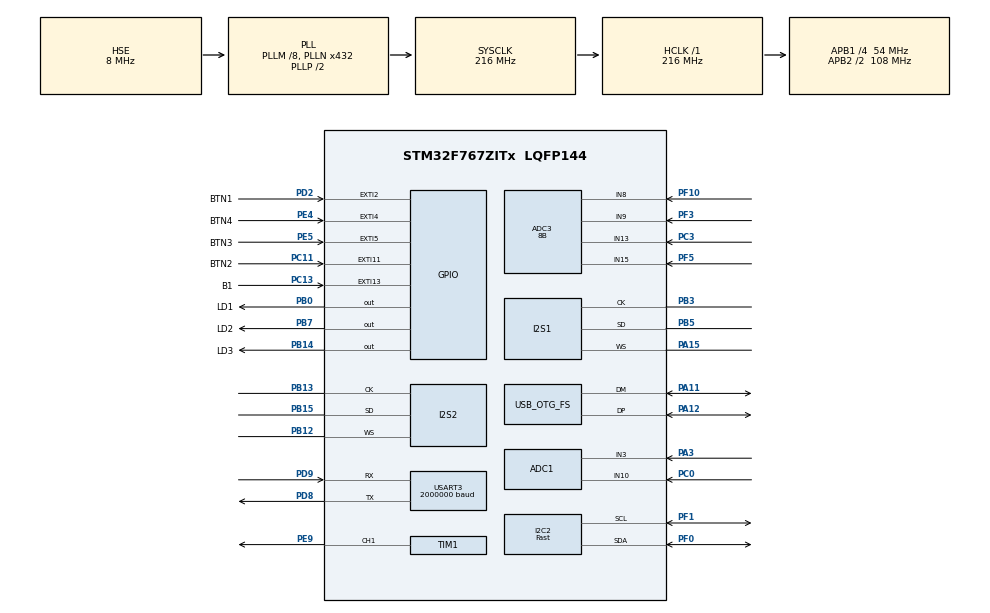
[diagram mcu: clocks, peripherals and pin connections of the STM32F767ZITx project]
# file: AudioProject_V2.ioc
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ADC1.Channel-2\#ChannelRegularConversion=ADC_CHANNEL_3
ADC1.Channel-3\#ChannelRegularConversion=ADC_CHANNEL_10
ADC1.ClockPrescaler=ADC_CLOCK_SYNC_PCLK_DIV6
ADC1.DMAContinuousRequests=ENABLE
ADC1.EOCSelection=ADC_EOC_SEQ_CONV
ADC1.ExternalTrigConv=ADC_EXTERNALTRIGCONV_T2_TRGO
ADC1.NbrOfConversion=2
ADC1.NbrOfConversionFlag=1
ADC1.Rank-2\#ChannelRegularConversion=1
ADC1.Rank-3\#ChannelRegularConversion=2
ADC1.SamplingTime-2\#ChannelRegularConversion=ADC_SAMPLETIME_144CYCLES
ADC1.SamplingTime-3\#ChannelRegularConversion=ADC_SAMPLETIME_144CYCLES
ADC1.master=1
ADC3.Channel-0\#ChannelRegularConversion=ADC_CHANNEL_8
ADC3.Channel-1\#ChannelRegularConversion=ADC_CHANNEL_15
ADC3.Channel-2\#ChannelRegularConversion=ADC_CHANNEL_9
ADC3.Channel-3\#ChannelRegularConversion=ADC_CHANNEL_13
ADC3.ClockPrescaler=ADC_CLOCK_SYNC_PCLK_DIV6
ADC3.DMAContinuousRequests=ENABLE
ADC3.EOCSelection=ADC_EOC_SEQ_CONV
ADC3.ExternalTrigConv=ADC_EXTERNALTRIGCONV_T6_TRGO
ADC3.NbrOfConversion=4
ADC3.NbrOfConversionFlag=1
ADC3.Rank-0\#ChannelRegularConversion=1
ADC3.Rank-1\#ChannelRegularConversion=2
ADC3.Rank-2\#ChannelRegularConversion=3
ADC3.Rank-3\#ChannelRegularConversion=4
ADC3.Resolution=ADC_RESOLUTION_8B
ADC3.SamplingTime-0\#ChannelRegularConversion=ADC_SAMPLETIME_480CYCLES
ADC3.SamplingTime-1\#ChannelRegularConversion=ADC_SAMPLETIME_480CYCLES
ADC3.SamplingTime-2\#ChannelRegularConversion=ADC_SAMPLETIME_480CYCLES
ADC3.SamplingTime-3\#ChannelRegularConversion=ADC_SAMPLETIME_480CYCLES
ADC3.ScanConvMode=ADC_SCAN_ENABLE
CORTEX_M7.default_mode_Activation=1
Dma.ADC1.0.Direction=DMA_PERIPH_TO_MEMORY
Dma.ADC1.0.FIFOMode=DMA_FIFOMODE_DISABLE
Dma.ADC1.0.Instance=DMA2_Stream4
Dma.ADC1.0.MemDataAlignment=DMA_MDATAALIGN_HALFWORD
Dma.ADC1.0.MemInc=DMA_MINC_ENABLE
Dma.ADC1.0.Mode=DMA_CIRCULAR
Dma.ADC1.0.PeriphDataAlignment=DMA_PDATAALIGN_HALFWORD
Dma.ADC1.0.PeriphInc=DMA_PINC_DISABLE
Dma.ADC1.0.Priority=DMA_PRIORITY_HIGH
Dma.ADC3.2.Direction=DMA_PERIPH_TO_MEMORY
Dma.ADC3.2.FIFOMode=DMA_FIFOMODE_DISABLE
Dma.ADC3.2.Instance=DMA2_Stream0
Dma.ADC3.2.MemDataAlignment=DMA_MDATAALIGN_HALFWORD
Dma.ADC3.2.MemInc=DMA_MINC_ENABLE
Dma.ADC3.2.Mode=DMA_CIRCULAR
Dma.ADC3.2.PeriphDataAlignment=DMA_PDATAALIGN_HALFWORD
Dma.ADC3.2.PeriphInc=DMA_PINC_DISABLE
Dma.ADC3.2.Priority=DMA_PRIORITY_LOW
Dma.I2C2_TX.4.Direction=DMA_MEMORY_TO_PERIPH
Dma.I2C2_TX.4.FIFOMode=DMA_FIFOMODE_DISABLE
Dma.I2C2_TX.4.Instance=DMA1_Stream7
Dma.I2C2_TX.4.MemDataAlignment=DMA_MDATAALIGN_BYTE
Dma.I2C2_TX.4.MemInc=DMA_MINC_ENABLE
Dma.I2C2_TX.4.Mode=DMA_NORMAL
Dma.I2C2_TX.4.PeriphDataAlignment=DMA_PDATAALIGN_BYTE
Dma.I2C2_TX.4.PeriphInc=DMA_PINC_DISABLE
Dma.I2C2_TX.4.Priority=DMA_PRIORITY_LOW
Dma.Request0=ADC1
Dma.Request1=TIM1_CH1
Dma.Request2=ADC3
Dma.Request3=SPI2_TX
Dma.Request4=I2C2_TX
Dma.Request5=SPI1_RX
Dma.SPI1_RX.5.Direction=DMA_PERIPH_TO_MEMORY
Dma.SPI1_RX.5.FIFOMode=DMA_FIFOMODE_DISABLE
Dma.SPI1_RX.5.Instance=DMA2_Stream2
Dma.SPI1_RX.5.MemDataAlignment=DMA_MDATAALIGN_HALFWORD
Dma.SPI1_RX.5.MemInc=DMA_MINC_ENABLE
Dma.SPI1_RX.5.Mode=DMA_CIRCULAR
Dma.SPI1_RX.5.PeriphDataAlignment=DMA_PDATAALIGN_HALFWORD
Dma.SPI1_RX.5.PeriphInc=DMA_PINC_DISABLE
Dma.SPI1_RX.5.Priority=DMA_PRIORITY_VERY_HIGH
Dma.SPI2_TX.3.Direction=DMA_MEMORY_TO_PERIPH
Dma.SPI2_TX.3.FIFOMode=DMA_FIFOMODE_DISABLE
Dma.SPI2_TX.3.Instance=DMA1_Stream4
Dma.SPI2_TX.3.MemDataAlignment=DMA_MDATAALIGN_HALFWORD
Dma.SPI2_TX.3.MemInc=DMA_MINC_ENABLE
Dma.SPI2_TX.3.Mode=DMA_CIRCULAR
Dma.SPI2_TX.3.PeriphDataAlignment=DMA_PDATAALIGN_HALFWORD
Dma.SPI2_TX.3.PeriphInc=DMA_PINC_DISABLE
Dma.SPI2_TX.3.Priority=DMA_PRIORITY_VERY_HIGH
Dma.TIM1_CH1.1.Direction=DMA_MEMORY_TO_PERIPH
Dma.TIM1_CH1.1.FIFOMode=DMA_FIFOMODE_DISABLE
Dma.TIM1_CH1.1.Instance=DMA2_Stream1
Dma.TIM1_CH1.1.MemDataAlignment=DMA_MDATAALIGN_HALFWORD
Dma.TIM1_CH1.1.MemInc=DMA_MINC_ENABLE
Dma.TIM1_CH1.1.Mode=DMA_NORMAL
Dma.TIM1_CH1.1.PeriphDataAlignment=DMA_PDATAALIGN_HALFWORD
Dma.TIM1_CH1.1.PeriphInc=DMA_PINC_DISABLE
Dma.TIM1_CH1.1.Priority=DMA_PRIORITY_MEDIUM
I2C2.I2C_Speed_Mode=I2C_Fast
I2C2.Timing=0x0010061A
I2S1.AudioFreq=I2S_AUDIOFREQ_48K
I2S1.CPOL=I2S_CPOL_LOW
I2S1.DataFormat=I2S_DATAFORMAT_16B_EXTENDED
I2S1.ErrorAudioFreq=0.0 %
I2S1.FullDuplexMode=I2S_FULLDUPLEXMODE_DISABLE
I2S1.Instance=SPI$Index
I2S1.Mode=I2S_MODE_MASTER_RX
I2S1.RealAudioFreq=48.0 KHz
I2S1.VirtualMode=I2S_MODE_MASTER
I2S2.AudioFreq=I2S_AUDIOFREQ_48K
I2S2.ErrorAudioFreq=0.0 %
I2S2.FullDuplexMode=I2S_FULLDUPLEXMODE_DISABLE
I2S2.Instance=SPI$Index
I2S2.RealAudioFreq=48.0 KHz
I2S2.VirtualMode=I2S_MODE_MASTER
Mcu.Family=STM32F7
Mcu.Name=STM32F767ZITx
Mcu.Package=LQFP144
NVIC.DMA1_Stream4_IRQn=true\:1\:0\:true\:false\:true\:false\:true\:true
NVIC.DMA1_Stream7_IRQn=true\:11\:0\:true\:false\:true\:false\:true\:true
NVIC.DMA2_Stream0_IRQn=true\:8\:0\:true\:false\:true\:false\:true\:true
NVIC.DMA2_Stream1_IRQn=true\:5\:0\:true\:false\:true\:false\:true\:true
NVIC.DMA2_Stream2_IRQn=true\:2\:0\:true\:false\:true\:false\:true\:true
NVIC.DMA2_Stream4_IRQn=true\:2\:0\:true\:false\:true\:false\:true\:true
NVIC.EXTI15_10_IRQn=true\:10\:0\:true\:false\:true\:true\:true\:true
NVIC.EXTI2_IRQn=true\:10\:0\:true\:false\:true\:true\:true\:true
NVIC.EXTI4_IRQn=true\:10\:0\:true\:false\:true\:true\:true\:true
NVIC.EXTI9_5_IRQn=true\:10\:0\:true\:false\:true\:true\:true\:true
NVIC.I2C2_ER_IRQn=true\:11\:0\:true\:false\:true\:true\:true\:true
NVIC.I2C2_EV_IRQn=true\:11\:0\:true\:false\:true\:true\:true\:true
NVIC.OTG_FS_IRQn=true\:2\:0\:true\:false\:true\:false\:true\:true
NVIC.PriorityGroup=NVIC_PRIORITYGROUP_4
NVIC.TIM7_IRQn=true\:12\:0\:true\:false\:true\:true\:true\:true
PA11.Mode=Device_Only
PA11.Signal=USB_OTG_FS_DM
PA12.Mode=Device_Only
PA12.Signal=USB_OTG_FS_DP
PA15.GPIO_Speed=GPIO_SPEED_FREQ_LOW
PA15.Mode=Half_Duplex_Master
PA15.Signal=I2S1_WS
PA3.Signal=ADCx_IN3
PB0.GPIO_Label=LD1
PB0.Signal=GPIO_Output
PB12.Mode=Half_Duplex_Master
PB12.Signal=I2S2_WS
PB13.Mode=Half_Duplex_Master
PB13.Signal=I2S2_CK
PB14.GPIO_Label=LD3
PB14.Signal=GPIO_Output
PB15.Mode=Half_Duplex_Master
PB15.Signal=I2S2_SD
PB3.GPIO_Speed=GPIO_SPEED_FREQ_LOW
PB3.Mode=Half_Duplex_Master
PB3.Signal=I2S1_CK
PB5.GPIO_Speed=GPIO_SPEED_FREQ_LOW
PB5.Mode=Half_Duplex_Master
PB5.Signal=I2S1_SD
PB7.GPIO_Label=LD2
PB7.Signal=GPIO_Output
PC0.Signal=ADCx_IN10
PC11.GPIO_Label=BTN2
PC11.GPIO_PuPd=GPIO_NOPULL
PC11.Signal=GPXTI11
PC13.GPIO_Label=B1
PC13.GPIO_PuPd=GPIO_NOPULL
PC13.Signal=GPXTI13
PC14/OSC32_IN.Mode=LSE-External-Oscillator
PC14/OSC32_IN.Signal=RCC_OSC32_IN
PC15/OSC32_OUT.Mode=LSE-External-Oscillator
PC15/OSC32_OUT.Signal=RCC_OSC32_OUT
PC3.Signal=ADCx_IN13
PD2.GPIO_Label=BTN1
PD2.GPIO_PuPd=GPIO_NOPULL
PD2.Signal=GPXTI2
PD8.Mode=Asynchronous
PD8.Signal=USART3_TX
PD9.Mode=Asynchronous
PD9.Signal=USART3_RX
PE4.GPIO_Label=BTN4
PE4.GPIO_PuPd=GPIO_NOPULL
PE4.Signal=GPXTI4
PE5.GPIO_Label=BTN3
PE5.GPIO_PuPd=GPIO_NOPULL
PE5.Signal=GPXTI5
PE9.Signal=S_TIM1_CH1
PF0.GPIO_Speed=GPIO_SPEED_FREQ_LOW
PF0.Mode=I2C
PF0.Signal=I2C2_SDA
PF1.GPIO_Speed=GPIO_SPEED_FREQ_LOW
PF1.Mode=I2C
PF1.Signal=I2C2_SCL
PF10.Mode=IN8
PF10.Signal=ADC3_IN8
PF3.Mode=IN9
PF3.Signal=ADC3_IN9
PF5.Mode=IN15
PF5.Signal=ADC3_IN15
PH0/OSC_IN.Mode=HSE-External-Clock-Source
PH0/OSC_IN.Signal=RCC_OSC_IN
PH1/OSC_OUT.Mode=HSE-External-Clock-Source
PH1/OSC_OUT.Signal=RCC_OSC_OUT
ProjectManager.HeapSize=0x200
ProjectManager.StackSize=0x400
ProjectManager.TargetToolchain=STM32CubeIDE
RCC.AHBFreq_Value=216000000
RCC.APB1CLKDivider=RCC_HCLK_DIV4
RCC.APB1Freq_Value=54000000
RCC.APB1TimFreq_Value=108000000
RCC.APB2CLKDivider=RCC_HCLK_DIV2
RCC.APB2Freq_Value=108000000
RCC.APB2TimFreq_Value=216000000
RCC.CortexFreq_Value=216000000
RCC.HCLKFreq_Value=216000000
RCC.HSE_VALUE=8000000
RCC.HSI_VALUE=16000000
RCC.I2C2CLockSelection=RCC_I2C2CLKSOURCE_HSI
RCC.PLLI2SN=384
RCC.PLLI2SR=5
RCC.PLLM=8
RCC.PLLN=432
RCC.PLLQ=9
RCC.RTCClockSelection=RCC_RTCCLKSOURCE_LSE
RCC.SYSCLKFreq_VALUE=216000000
RCC.SYSCLKSource=RCC_SYSCLKSOURCE_PLLCLK
RCC.USART3CLockSelection=RCC_USART3CLKSOURCE_SYSCLK
RCC.USBFreq_Value=48000000
RCC.VCOOutputFreq_Value=432000000
SH.ADCx_IN10.0=ADC1_IN10,IN10
SH.ADCx_IN13.0=ADC3_IN13,IN13
SH.ADCx_IN3.0=ADC1_IN3,IN3
SH.S_TIM1_CH1.0=TIM1_CH1,PWM Generation1 CH1
TIM1.Channel-PWM\ Generation1\ CH1=TIM_CHANNEL_1
TIM1.Period=269
TIM2.Period=2249
TIM2.TIM_MasterOutputTrigger=TIM_TRGO_UPDATE
TIM6.Period=999
TIM6.Prescaler=10799
TIM6.TIM_MasterOutputTrigger=TIM_TRGO_UPDATE
TIM7.Period=9
TIM7.Prescaler=10799
USART3.BaudRate=2000000
USART3.DMADisableonRxErrorParam=ADVFEATURE_DMA_DISABLEONRXERROR
USART3.Mode=MODE_TX
USART3.OverrunDisableParam=ADVFEATURE_OVERRUN_DISABLE
USART3.VirtualMode-Asynchronous=VM_ASYNC
USB_DEVICE.CLASS_NAME_FS=AUDIO
USB_DEVICE.USBD_AUDIO_FREQ-AUDIO_FS=48000
USB_DEVICE.USBD_LPM_ENABLED-AUDIO_FS=0
USB_DEVICE.USBD_SELF_POWERED-AUDIO_FS=0
USB_DEVICE.VirtualMode-AUDIO_FS=Audio
USB_DEVICE.VirtualModeFS=Audio_FS
USB_OTG_FS.VirtualMode=Device_Only
VP_RTC_VS_RTC_Activate.Mode=RTC_Enabled
VP_RTC_VS_RTC_Calendar.Mode=RTC_Calendar
VP_TIM1_VS_ClockSourceINT.Mode=Internal
VP_TIM2_VS_ClockSourceINT.Mode=Internal
VP_TIM6_VS_ClockSourceINT.Mode=Enable_Timer
VP_TIM7_VS_ClockSourceINT.Mode=Enable_Timer
VP_USB_DEVICE_VS_USB_DEVICE_AUDIO_FS.Mode=AUDIO_FS
board=custom

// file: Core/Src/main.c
/* USER CODE BEGIN Header */
/**
  ******************************************************************************
  * @file           : main.c
  * @brief          : Main program body
  ******************************************************************************
  * @attention
  *
  * Copyright (c) 2026 STMicroelectronics.
  * All rights reserved.
  *
  * This software is licensed under terms that can be found in the LICENSE file
  * in the root directory of this software component.
  * If no LICENSE file comes with this software, it is provided AS-IS.
  *
  ******************************************************************************
  */
/* USER CODE END Header */
#include "main.h"
#include "usb_device.h"

/* USER CODE BEGIN Includes */
#include "app_main.h"
#include "ssd1306.h"
/* USER CODE END Includes */

ADC_HandleTypeDef hadc1;
ADC_HandleTypeDef hadc3;
DMA_HandleTypeDef hdma_adc1;
DMA_HandleTypeDef hdma_adc3;

I2C_HandleTypeDef hi2c2;
DMA_HandleTypeDef hdma_i2c2_tx;

I2S_HandleTypeDef hi2s1;
I2S_HandleTypeDef hi2s2;
DMA_HandleTypeDef hdma_spi1_rx;
DMA_HandleTypeDef hdma_spi2_tx;

RTC_HandleTypeDef hrtc;

TIM_HandleTypeDef htim1;
TIM_HandleTypeDef htim2;
TIM_HandleTypeDef htim6;
TIM_HandleTypeDef htim7;
DMA_HandleTypeDef hdma_tim1_ch1;

UART_HandleTypeDef huart3;

void SystemClock_Config(void);
void PeriphCommonClock_Config(void);
static void MPU_Config(void);
static void MX_GPIO_Init(void);
static void MX_DMA_Init(void);
static void MX_ADC1_Init(void);
static void MX_TIM2_Init(void);
static void MX_TIM1_Init(void);
static void MX_ADC3_Init(void);
static void MX_I2S2_Init(void);
static void MX_TIM6_Init(void);
static void MX_I2S1_Init(void);
static void MX_I2C2_Init(void);
static void MX_USART3_UART_Init(void);
static void MX_TIM7_Init(void);
static void MX_RTC_Init(void);
/* USER CODE BEGIN PFP */
static void BootClock_Config(void);
void UART3_Print(const char *msg);
static void Log_WaitBoot(void);
static void Log_CpltBoot(void);
/* USER CODE END PFP */

/* USER CODE BEGIN 0 */
static void BootClock_Config(void)
{
	RCC_OscInitTypeDef RCC_OscInitStruct = {0};
	RCC_ClkInitTypeDef RCC_ClkInitStruct = {0};
	RCC_PeriphCLKInitTypeDef PeriphClkInitStruct = {0};

	__HAL_RCC_PWR_CLK_ENABLE();
	__HAL_PWR_VOLTAGESCALING_CONFIG(PWR_REGULATOR_VOLTAGE_SCALE3);

	RCC_OscInitStruct.OscillatorType = RCC_OSCILLATORTYPE_HSI;
	RCC_OscInitStruct.HSIState = RCC_HSI_ON;
	RCC_OscInitStruct.HSICalibrationValue = RCC_HSICALIBRATION_DEFAULT;
	RCC_OscInitStruct.PLL.PLLState = RCC_PLL_NONE;
	if (HAL_RCC_OscConfig(&RCC_OscInitStruct) != HAL_OK)
	{
		Error_Handler();
	}

	RCC_ClkInitStruct.ClockType =
			RCC_CLOCKTYPE_SYSCLK	|
			RCC_CLOCKTYPE_HCLK		|
			RCC_CLOCKTYPE_PCLK1		|
			RCC_CLOCKTYPE_PCLK2;
	RCC_ClkInitStruct.SYSCLKSource = RCC_SYSCLKSOURCE_HSI;
	RCC_ClkInitStruct.AHBCLKDivider = RCC_SYSCLK_DIV1;
	RCC_ClkInitStruct.APB1CLKDivider = RCC_HCLK_DIV1;
	RCC_ClkInitStruct.APB2CLKDivider = RCC_HCLK_DIV1;
	if (HAL_RCC_ClockConfig(&RCC_ClkInitStruct, FLASH_LATENCY_0) != HAL_OK)
	{
		Error_Handler();
	}

	PeriphClkInitStruct.PeriphClockSelection =
			RCC_PERIPHCLK_USART3	|
			RCC_PERIPHCLK_I2C2;
	PeriphClkInitStruct.Usart3ClockSelection = RCC_USART3CLKSOURCE_HSI;
	PeriphClkInitStruct.I2c2ClockSelection = RCC_I2C2CLKSOURCE_HSI;
	if (HAL_RCCEx_PeriphCLKConfig(&PeriphClkInitStruct) != HAL_OK)
	{
		Error_Handler();
	}
}

void UART3_Print(const char *msg)
{
	HAL_UART_Transmit(&huart3, (uint8_t *)msg, strlen(msg), HAL_MAX_DELAY);
}

static void Log_WaitBoot(void)
{
	ssd1306_Init(&hi2c2);

	ssd1306_SetCursor(0, 16);
	ssd1306_WriteString("BOOT", Font_16x26, White);
	ssd1306_UpdateScreen(&hi2c2);

	HAL_Delay(1000);

	for (int i = 0; i < 3; i++)
	{
		ssd1306_WriteString(".", Font_16x26, White);
		ssd1306_UpdateScreen(&hi2c2);
		HAL_Delay(1000);
	}
}

static void Log_CpltBoot(void)
{
	ssd1306_Init(&hi2c2);

	ssd1306_SetCursor(0, 16);
	ssd1306_WriteString("COMPLETE", Font_11x18, White);
	ssd1306_UpdateScreen(&hi2c2);

	HAL_Delay(2000);
}

void TIM1_Start(void)
{
	HAL_TIM_Base_Start(&htim1);
}
/* USER CODE END 0 */

int main(void)
{

  /* MPU Configuration--------------------------------------------------------*/
  MPU_Config();

  /* MCU Configuration--------------------------------------------------------*/

  /* Reset of all peripherals, Initializes the Flash interface and the Systick. */
  HAL_Init();

  /* USER CODE BEGIN Init */
  BootClock_Config();
  MX_DMA_Init();
  MX_I2C2_Init();
  Log_WaitBoot();
  /* USER CODE END Init */

  /* Configure the system clock */
  SystemClock_Config();

  /* Configure the peripherals common clocks */
  PeriphCommonClock_Config();

  /* Initialize all configured peripherals */
  MX_GPIO_Init();
  MX_DMA_Init();
  MX_ADC1_Init();
  MX_USB_DEVICE_Init();
  MX_TIM2_Init();
  MX_TIM1_Init();
  MX_ADC3_Init();
  MX_I2S2_Init();
  MX_TIM6_Init();
  MX_I2S1_Init();
  MX_I2C2_Init();
  MX_USART3_UART_Init();
  MX_TIM7_Init();
  MX_RTC_Init();
  /* USER CODE BEGIN 2 */
  Log_CpltBoot();
  App_Main();
  /* USER CODE END 2 */

  /* Infinite loop */
  while (1)
  {

  }
}

void SystemClock_Config(void)
{
  RCC_OscInitTypeDef RCC_OscInitStruct = {0};
  RCC_ClkInitTypeDef RCC_ClkInitStruct = {0};

  /** Configure LSE Drive Capability
  */
  HAL_PWR_EnableBkUpAccess();
  __HAL_RCC_LSEDRIVE_CONFIG(RCC_LSEDRIVE_LOW);

  /** Configure the main internal regulator output voltage
  */
  __HAL_RCC_PWR_CLK_ENABLE();
  __HAL_PWR_VOLTAGESCALING_CONFIG(PWR_REGULATOR_VOLTAGE_SCALE1);

  /** Initializes the RCC Oscillators according to the specified parameters
  * in the RCC_OscInitTypeDef structure.
  */
  RCC_OscInitStruct.OscillatorType = RCC_OSCILLATORTYPE_HSI|RCC_OSCILLATORTYPE_HSE
                              |RCC_OSCILLATORTYPE_LSE;
  RCC_OscInitStruct.HSEState = RCC_HSE_BYPASS;
  RCC_OscInitStruct.LSEState = RCC_LSE_ON;
  RCC_OscInitStruct.HSIState = RCC_HSI_ON;
  RCC_OscInitStruct.HSICalibrationValue = RCC_HSICALIBRATION_DEFAULT;
  RCC_OscInitStruct.PLL.PLLState = RCC_PLL_ON;
  RCC_OscInitStruct.PLL.PLLSource = RCC_PLLSOURCE_HSE;
  RCC_OscInitStruct.PLL.PLLM = 8;
  RCC_OscInitStruct.PLL.PLLN = 432;
  RCC_OscInitStruct.PLL.PLLP = RCC_PLLP_DIV2;
  RCC_OscInitStruct.PLL.PLLQ = 9;
  RCC_OscInitStruct.PLL.PLLR = 2;
  if (HAL_RCC_OscConfig(&RCC_OscInitStruct) != HAL_OK)
  {
    Error_Handler();
  }

  /** Activate the Over-Drive mode
  */
  if (HAL_PWREx_EnableOverDrive() != HAL_OK)
  {
    Error_Handler();
  }

  /** Initializes the CPU, AHB and APB buses clocks
  */
  RCC_ClkInitStruct.ClockType = RCC_CLOCKTYPE_HCLK|RCC_CLOCKTYPE_SYSCLK
                              |RCC_CLOCKTYPE_PCLK1|RCC_CLOCKTYPE_PCLK2;
  RCC_ClkInitStruct.SYSCLKSource = RCC_SYSCLKSOURCE_PLLCLK;
  RCC_ClkInitStruct.AHBCLKDivider = RCC_SYSCLK_DIV1;
  RCC_ClkInitStruct.APB1CLKDivider = RCC_HCLK_DIV4;
  RCC_ClkInitStruct.APB2CLKDivider = RCC_HCLK_DIV2;

  if (HAL_RCC_ClockConfig(&RCC_ClkInitStruct, FLASH_LATENCY_7) != HAL_OK)
  {
    Error_Handler();
  }
}

void PeriphCommonClock_Config(void)
{
  RCC_PeriphCLKInitTypeDef PeriphClkInitStruct = {0};

  /** Initializes the peripherals clock
  */
  PeriphClkInitStruct.PeriphClockSelection = RCC_PERIPHCLK_I2S;
  PeriphClkInitStruct.PLLI2S.PLLI2SN = 384;
  PeriphClkInitStruct.PLLI2S.PLLI2SP = RCC_PLLP_DIV2;
  PeriphClkInitStruct.PLLI2S.PLLI2SR = 5;
  PeriphClkInitStruct.PLLI2S.PLLI2SQ = 2;
  PeriphClkInitStruct.PLLI2SDivQ = 1;
  PeriphClkInitStruct.I2sClockSelection = RCC_I2SCLKSOURCE_PLLI2S;
  if (HAL_RCCEx_PeriphCLKConfig(&PeriphClkInitStruct) != HAL_OK)
  {
    Error_Handler();
  }
}

static void MX_ADC1_Init(void)
{

  ADC_ChannelConfTypeDef sConfig = {0};

  /** Configure the global features of the ADC (Clock, Resolution, Data Alignment and number of conversion)
  */
  hadc1.Instance = ADC1;
  hadc1.Init.ClockPrescaler = ADC_CLOCK_SYNC_PCLK_DIV6;
  hadc1.Init.Resolution = ADC_RESOLUTION_12B;
  hadc1.Init.ScanConvMode = ADC_SCAN_ENABLE;
  hadc1.Init.ContinuousConvMode = DISABLE;
  hadc1.Init.DiscontinuousConvMode = DISABLE;
  hadc1.Init.ExternalTrigConvEdge = ADC_EXTERNALTRIGCONVEDGE_RISING;
  hadc1.Init.ExternalTrigConv = ADC_EXTERNALTRIGCONV_T2_TRGO;
  hadc1.Init.DataAlign = ADC_DATAALIGN_RIGHT;
  hadc1.Init.NbrOfConversion = 2;
  hadc1.Init.DMAContinuousRequests = ENABLE;
  hadc1.Init.EOCSelection = ADC_EOC_SEQ_CONV;
  if (HAL_ADC_Init(&hadc1) != HAL_OK)
  {
    Error_Handler();
  }

  /** Configure for the selected ADC regular channel its corresponding rank in the sequencer and its sample time.
  */
  sConfig.Channel = ADC_CHANNEL_3;
  sConfig.Rank = ADC_REGULAR_RANK_1;
  sConfig.SamplingTime = ADC_SAMPLETIME_144CYCLES;
  if (HAL_ADC_ConfigChannel(&hadc1, &sConfig) != HAL_OK)
  {
    Error_Handler();
  }

  /** Configure for the selected ADC regular channel its corresponding rank in the sequencer and its sample time.
  */
  sConfig.Channel = ADC_CHANNEL_10;
  sConfig.Rank = ADC_REGULAR_RANK_2;
  if (HAL_ADC_ConfigChannel(&hadc1, &sConfig) != HAL_OK)
  {
    Error_Handler();
  }

}

static void MX_ADC3_Init(void)
{

  ADC_ChannelConfTypeDef sConfig = {0};

  /** Configure the global features of the ADC (Clock, Resolution, Data Alignment and number of conversion)
  */
  hadc3.Instance = ADC3;
  hadc3.Init.ClockPrescaler = ADC_CLOCK_SYNC_PCLK_DIV6;
  hadc3.Init.Resolution = ADC_RESOLUTION_8B;
  hadc3.Init.ScanConvMode = ADC_SCAN_ENABLE;
  hadc3.Init.ContinuousConvMode = DISABLE;
  hadc3.Init.DiscontinuousConvMode = DISABLE;
  hadc3.Init.ExternalTrigConvEdge = ADC_EXTERNALTRIGCONVEDGE_RISING;
  hadc3.Init.ExternalTrigConv = ADC_EXTERNALTRIGCONV_T6_TRGO;
  hadc3.Init.DataAlign = ADC_DATAALIGN_RIGHT;
  hadc3.Init.NbrOfConversion = 4;
  hadc3.Init.DMAContinuousRequests = ENABLE;
  hadc3.Init.EOCSelection = ADC_EOC_SEQ_CONV;
  if (HAL_ADC_Init(&hadc3) != HAL_OK)
  {
    Error_Handler();
  }

  /** Configure for the selected ADC regular channel its corresponding rank in the sequencer and its sample time.
  */
  sConfig.Channel = ADC_CHANNEL_8;
  sConfig.Rank = ADC_REGULAR_RANK_1;
  sConfig.SamplingTime = ADC_SAMPLETIME_480CYCLES;
  if (HAL_ADC_ConfigChannel(&hadc3, &sConfig) != HAL_OK)
  {
    Error_Handler();
  }

  /** Configure for the selected ADC regular channel its corresponding rank in the sequencer and its sample time.
  */
  sConfig.Channel = ADC_CHANNEL_15;
  sConfig.Rank = ADC_REGULAR_RANK_2;
  if (HAL_ADC_ConfigChannel(&hadc3, &sConfig) != HAL_OK)
  {
    Error_Handler();
  }

  /** Configure for the selected ADC regular channel its corresponding rank in the sequencer and its sample time.
  */
  sConfig.Channel = ADC_CHANNEL_9;
  sConfig.Rank = ADC_REGULAR_RANK_3;
  if (HAL_ADC_ConfigChannel(&hadc3, &sConfig) != HAL_OK)
  {
    Error_Handler();
  }

  /** Configure for the selected ADC regular channel its corresponding rank in the sequencer and its sample time.
  */
  sConfig.Channel = ADC_CHANNEL_13;
  sConfig.Rank = ADC_REGULAR_RANK_4;
  if (HAL_ADC_ConfigChannel(&hadc3, &sConfig) != HAL_OK)
  {
    Error_Handler();
  }

}

static void MX_I2C2_Init(void)
{

  hi2c2.Instance = I2C2;
  hi2c2.Init.Timing = 0x0010061A;
  hi2c2.Init.OwnAddress1 = 0;
  hi2c2.Init.AddressingMode = I2C_ADDRESSINGMODE_7BIT;
  hi2c2.Init.DualAddressMode = I2C_DUALADDRESS_DISABLE;
  hi2c2.Init.OwnAddress2 = 0;
  hi2c2.Init.OwnAddress2Masks = I2C_OA2_NOMASK;
  hi2c2.Init.GeneralCallMode = I2C_GENERALCALL_DISABLE;
  hi2c2.Init.NoStretchMode = I2C_NOSTRETCH_DISABLE;
  if (HAL_I2C_Init(&hi2c2) != HAL_OK)
  {
    Error_Handler();
  }

  /** Configure Analogue filter
  */
  if (HAL_I2CEx_ConfigAnalogFilter(&hi2c2, I2C_ANALOGFILTER_ENABLE) != HAL_OK)
  {
    Error_Handler();
  }

  /** Configure Digital filter
  */
  if (HAL_I2CEx_ConfigDigitalFilter(&hi2c2, 0) != HAL_OK)
  {
    Error_Handler();
  }

}

static void MX_I2S1_Init(void)
{

  hi2s1.Instance = SPI1;
  hi2s1.Init.Mode = I2S_MODE_MASTER_RX;
  hi2s1.Init.Standard = I2S_STANDARD_PHILIPS;
  hi2s1.Init.DataFormat = I2S_DATAFORMAT_16B_EXTENDED;
  hi2s1.Init.MCLKOutput = I2S_MCLKOUTPUT_DISABLE;
  hi2s1.Init.AudioFreq = I2S_AUDIOFREQ_48K;
  hi2s1.Init.CPOL = I2S_CPOL_LOW;
  hi2s1.Init.ClockSource = I2S_CLOCK_PLL;
  if (HAL_I2S_Init(&hi2s1) != HAL_OK)
  {
    Error_Handler();
  }

}

static void MX_I2S2_Init(void)
{

  hi2s2.Instance = SPI2;
  hi2s2.Init.Mode = I2S_MODE_MASTER_TX;
  hi2s2.Init.Standard = I2S_STANDARD_PHILIPS;
  hi2s2.Init.DataFormat = I2S_DATAFORMAT_16B;
  hi2s2.Init.MCLKOutput = I2S_MCLKOUTPUT_DISABLE;
  hi2s2.Init.AudioFreq = I2S_AUDIOFREQ_48K;
  hi2s2.Init.CPOL = I2S_CPOL_LOW;
  hi2s2.Init.ClockSource = I2S_CLOCK_PLL;
  if (HAL_I2S_Init(&hi2s2) != HAL_OK)
  {
    Error_Handler();
  }

}

static void MX_RTC_Init(void)
{

  RTC_TimeTypeDef sTime = {0};
  RTC_DateTypeDef sDate = {0};

  /** Initialize RTC Only
  */
  hrtc.Instance = RTC;
  hrtc.Init.HourFormat = RTC_HOURFORMAT_24;
  hrtc.Init.AsynchPrediv = 127;
  hrtc.Init.SynchPrediv = 255;
  hrtc.Init.OutPut = RTC_OUTPUT_DISABLE;
  hrtc.Init.OutPutPolarity = RTC_OUTPUT_POLARITY_HIGH;
  hrtc.Init.OutPutType = RTC_OUTPUT_TYPE_OPENDRAIN;
  if (HAL_RTC_Init(&hrtc) != HAL_OK)
  {
    Error_Handler();
  }

  /** Initialize RTC and set the Time and Date
  */
  sTime.Hours = 0x0;
  sTime.Minutes = 0x0;
  sTime.Seconds = 0x0;
  sTime.DayLightSaving = RTC_DAYLIGHTSAVING_NONE;
  sTime.StoreOperation = RTC_STOREOPERATION_RESET;
  if (HAL_RTC_SetTime(&hrtc, &sTime, RTC_FORMAT_BCD) != HAL_OK)
  {
    Error_Handler();
  }
  sDate.WeekDay = RTC_WEEKDAY_MONDAY;
  sDate.Month = RTC_MONTH_JANUARY;
  sDate.Date = 0x1;
  sDate.Year = 0x0;

  if (HAL_RTC_SetDate(&hrtc, &sDate, RTC_FORMAT_BCD) != HAL_OK)
  {
    Error_Handler();
  }

}

static void MX_TIM1_Init(void)
{

  TIM_ClockConfigTypeDef sClockSourceConfig = {0};
  TIM_MasterConfigTypeDef sMasterConfig = {0};
  TIM_OC_InitTypeDef sConfigOC = {0};
  TIM_BreakDeadTimeConfigTypeDef sBreakDeadTimeConfig = {0};

  htim1.Instance = TIM1;
  htim1.Init.Prescaler = 0;
  htim1.Init.CounterMode = TIM_COUNTERMODE_UP;
  htim1.Init.Period = 269;
  htim1.Init.ClockDivision = TIM_CLOCKDIVISION_DIV1;
  htim1.Init.RepetitionCounter = 0;
  htim1.Init.AutoReloadPreload = TIM_AUTORELOAD_PRELOAD_DISABLE;
  if (HAL_TIM_Base_Init(&htim1) != HAL_OK)
  {
    Error_Handler();
  }
  sClockSourceConfig.ClockSource = TIM_CLOCKSOURCE_INTERNAL;
  if (HAL_TIM_ConfigClockSource(&htim1, &sClockSourceConfig) != HAL_OK)
  {
    Error_Handler();
  }
  if (HAL_TIM_PWM_Init(&htim1) != HAL_OK)
  {
    Error_Handler();
  }
  sMasterConfig.MasterOutputTrigger = TIM_TRGO_RESET;
  sMasterConfig.MasterOutputTrigger2 = TIM_TRGO2_RESET;
  sMasterConfig.MasterSlaveMode = TIM_MASTERSLAVEMODE_DISABLE;
  if (HAL_TIMEx_MasterConfigSynchronization(&htim1, &sMasterConfig) != HAL_OK)
  {
    Error_Handler();
  }
  sConfigOC.OCMode = TIM_OCMODE_PWM1;
  sConfigOC.Pulse = 0;
  sConfigOC.OCPolarity = TIM_OCPOLARITY_HIGH;
  sConfigOC.OCNPolarity = TIM_OCNPOLARITY_HIGH;
  sConfigOC.OCFastMode = TIM_OCFAST_DISABLE;
  sConfigOC.OCIdleState = TIM_OCIDLESTATE_RESET;
  sConfigOC.OCNIdleState = TIM_OCNIDLESTATE_RESET;
  if (HAL_TIM_PWM_ConfigChannel(&htim1, &sConfigOC, TIM_CHANNEL_1) != HAL_OK)
  {
    Error_Handler();
  }
  sBreakDeadTimeConfig.OffStateRunMode = TIM_OSSR_DISABLE;
  sBreakDeadTimeConfig.OffStateIDLEMode = TIM_OSSI_DISABLE;
  sBreakDeadTimeConfig.LockLevel = TIM_LOCKLEVEL_OFF;
  sBreakDeadTimeConfig.DeadTime = 0;
  sBreakDeadTimeConfig.BreakState = TIM_BREAK_DISABLE;
  sBreakDeadTimeConfig.BreakPolarity = TIM_BREAKPOLARITY_HIGH;
  sBreakDeadTimeConfig.BreakFilter = 0;
  sBreakDeadTimeConfig.Break2State = TIM_BREAK2_DISABLE;
  sBreakDeadTimeConfig.Break2Polarity = TIM_BREAK2POLARITY_HIGH;
  sBreakDeadTimeConfig.Break2Filter = 0;
  sBreakDeadTimeConfig.AutomaticOutput = TIM_AUTOMATICOUTPUT_DISABLE;
  if (HAL_TIMEx_ConfigBreakDeadTime(&htim1, &sBreakDeadTimeConfig) != HAL_OK)
  {
    Error_Handler();
  }
  HAL_TIM_MspPostInit(&htim1);

}

static void MX_TIM2_Init(void)
{

  TIM_ClockConfigTypeDef sClockSourceConfig = {0};
  TIM_MasterConfigTypeDef sMasterConfig = {0};

  htim2.Instance = TIM2;
  htim2.Init.Prescaler = 0;
  htim2.Init.CounterMode = TIM_COUNTERMODE_UP;
  htim2.Init.Period = 2249;
  htim2.Init.ClockDivision = TIM_CLOCKDIVISION_DIV1;
  htim2.Init.AutoReloadPreload = TIM_AUTORELOAD_PRELOAD_DISABLE;
  if (HAL_TIM_Base_Init(&htim2) != HAL_OK)
  {
    Error_Handler();
  }
  sClockSourceConfig.ClockSource = TIM_CLOCKSOURCE_INTERNAL;
  if (HAL_TIM_ConfigClockSource(&htim2, &sClockSourceConfig) != HAL_OK)
  {
    Error_Handler();
  }
  sMasterConfig.MasterOutputTrigger = TIM_TRGO_UPDATE;
  sMasterConfig.MasterSlaveMode = TIM_MASTERSLAVEMODE_DISABLE;
  if (HAL_TIMEx_MasterConfigSynchronization(&htim2, &sMasterConfig) != HAL_OK)
  {
    Error_Handler();
  }

}

static void MX_TIM6_Init(void)
{

  TIM_MasterConfigTypeDef sMasterConfig = {0};

  htim6.Instance = TIM6;
  htim6.Init.Prescaler = 10799;
  htim6.Init.CounterMode = TIM_COUNTERMODE_UP;
  htim6.Init.Period = 999;
  htim6.Init.AutoReloadPreload = TIM_AUTORELOAD_PRELOAD_DISABLE;
  if (HAL_TIM_Base_Init(&htim6) != HAL_OK)
  {
    Error_Handler();
  }
  sMasterConfig.MasterOutputTrigger = TIM_TRGO_UPDATE;
  sMasterConfig.MasterSlaveMode = TIM_MASTERSLAVEMODE_DISABLE;
  if (HAL_TIMEx_MasterConfigSynchronization(&htim6, &sMasterConfig) != HAL_OK)
  {
    Error_Handler();
  }

}

static void MX_TIM7_Init(void)
{

  TIM_MasterConfigTypeDef sMasterConfig = {0};

  htim7.Instance = TIM7;
  htim7.Init.Prescaler = 10799;
  htim7.Init.CounterMode = TIM_COUNTERMODE_UP;
  htim7.Init.Period = 9;
  htim7.Init.AutoReloadPreload = TIM_AUTORELOAD_PRELOAD_DISABLE;
  if (HAL_TIM_Base_Init(&htim7) != HAL_OK)
  {
    Error_Handler();
  }
  sMasterConfig.MasterOutputTrigger = TIM_TRGO_RESET;
  sMasterConfig.MasterSlaveMode = TIM_MASTERSLAVEMODE_DISABLE;
  if (HAL_TIMEx_MasterConfigSynchronization(&htim7, &sMasterConfig) != HAL_OK)
  {
    Error_Handler();
  }

}

static void MX_USART3_UART_Init(void)
{

  huart3.Instance = USART3;
  huart3.Init.BaudRate = 2000000;
  huart3.Init.WordLength = UART_WORDLENGTH_8B;
  huart3.Init.StopBits = UART_STOPBITS_1;
  huart3.Init.Parity = UART_PARITY_NONE;
  huart3.Init.Mode = UART_MODE_TX;
  huart3.Init.HwFlowCtl = UART_HWCONTROL_NONE;
  huart3.Init.OverSampling = UART_OVERSAMPLING_16;
  huart3.Init.OneBitSampling = UART_ONE_BIT_SAMPLE_DISABLE;
  huart3.AdvancedInit.AdvFeatureInit = UART_ADVFEATURE_RXOVERRUNDISABLE_INIT|UART_ADVFEATURE_DMADISABLEONERROR_INIT;
  huart3.AdvancedInit.OverrunDisable = UART_ADVFEATURE_OVERRUN_DISABLE;
  huart3.AdvancedInit.DMADisableonRxError = UART_ADVFEATURE_DMA_DISABLEONRXERROR;
  if (HAL_UART_Init(&huart3) != HAL_OK)
  {
    Error_Handler();
  }

}

static void MX_DMA_Init(void)
{

  /* DMA controller clock enable */
  __HAL_RCC_DMA2_CLK_ENABLE();
  __HAL_RCC_DMA1_CLK_ENABLE();

  /* DMA interrupt init */
  /* DMA1_Stream4_IRQn interrupt configuration */
  HAL_NVIC_SetPriority(DMA1_Stream4_IRQn, 1, 0);
  HAL_NVIC_EnableIRQ(DMA1_Stream4_IRQn);
  /* DMA1_Stream7_IRQn interrupt configuration */
  HAL_NVIC_SetPriority(DMA1_Stream7_IRQn, 11, 0);
  HAL_NVIC_EnableIRQ(DMA1_Stream7_IRQn);
  /* DMA2_Stream0_IRQn interrupt configuration */
  HAL_NVIC_SetPriority(DMA2_Stream0_IRQn, 8, 0);
  HAL_NVIC_EnableIRQ(DMA2_Stream0_IRQn);
  /* DMA2_Stream1_IRQn interrupt configuration */
  HAL_NVIC_SetPriority(DMA2_Stream1_IRQn, 5, 0);
  HAL_NVIC_EnableIRQ(DMA2_Stream1_IRQn);
  /* DMA2_Stream2_IRQn interrupt configuration */
  HAL_NVIC_SetPriority(DMA2_Stream2_IRQn, 2, 0);
  HAL_NVIC_EnableIRQ(DMA2_Stream2_IRQn);
  /* DMA2_Stream4_IRQn interrupt configuration */
  HAL_NVIC_SetPriority(DMA2_Stream4_IRQn, 2, 0);
  HAL_NVIC_EnableIRQ(DMA2_Stream4_IRQn);

}

static void MX_GPIO_Init(void)
{
  GPIO_InitTypeDef GPIO_InitStruct = {0};

  /* GPIO Ports Clock Enable */
  __HAL_RCC_GPIOE_CLK_ENABLE();
  __HAL_RCC_GPIOC_CLK_ENABLE();
  __HAL_RCC_GPIOF_CLK_ENABLE();
  __HAL_RCC_GPIOH_CLK_ENABLE();
  __HAL_RCC_GPIOA_CLK_ENABLE();
  __HAL_RCC_GPIOB_CLK_ENABLE();
  __HAL_RCC_GPIOD_CLK_ENABLE();

  /*Configure GPIO pin Output Level */
  HAL_GPIO_WritePin(GPIOB, LD1_Pin|LD3_Pin|LD2_Pin, GPIO_PIN_RESET);

  /*Configure GPIO pins : BTN4_Pin BTN3_Pin */
  GPIO_InitStruct.Pin = BTN4_Pin|BTN3_Pin;
  GPIO_InitStruct.Mode = GPIO_MODE_IT_RISING;
  GPIO_InitStruct.Pull = GPIO_NOPULL;
  HAL_GPIO_Init(GPIOE, &GPIO_InitStruct);

  /*Configure GPIO pins : B1_Pin BTN2_Pin */
  GPIO_InitStruct.Pin = B1_Pin|BTN2_Pin;
  GPIO_InitStruct.Mode = GPIO_MODE_IT_RISING;
  GPIO_InitStruct.Pull = GPIO_NOPULL;
  HAL_GPIO_Init(GPIOC, &GPIO_InitStruct);

  /*Configure GPIO pins : LD1_Pin LD3_Pin LD2_Pin */
  GPIO_InitStruct.Pin = LD1_Pin|LD3_Pin|LD2_Pin;
  GPIO_InitStruct.Mode = GPIO_MODE_OUTPUT_PP;
  GPIO_InitStruct.Pull = GPIO_NOPULL;
  GPIO_InitStruct.Speed = GPIO_SPEED_FREQ_LOW;
  HAL_GPIO_Init(GPIOB, &GPIO_InitStruct);

  /*Configure GPIO pin : BTN1_Pin */
  GPIO_InitStruct.Pin = BTN1_Pin;
  GPIO_InitStruct.Mode = GPIO_MODE_IT_RISING;
  GPIO_InitStruct.Pull = GPIO_NOPULL;
  HAL_GPIO_Init(BTN1_GPIO_Port, &GPIO_InitStruct);

  /* EXTI interrupt init*/
  HAL_NVIC_SetPriority(EXTI2_IRQn, 10, 0);
  HAL_NVIC_EnableIRQ(EXTI2_IRQn);

  HAL_NVIC_SetPriority(EXTI4_IRQn, 10, 0);
  HAL_NVIC_EnableIRQ(EXTI4_IRQn);

  HAL_NVIC_SetPriority(EXTI9_5_IRQn, 10, 0);
  HAL_NVIC_EnableIRQ(EXTI9_5_IRQn);

  HAL_NVIC_SetPriority(EXTI15_10_IRQn, 10, 0);
  HAL_NVIC_EnableIRQ(EXTI15_10_IRQn);

}

 /* MPU Configuration */

void MPU_Config(void)
{
  MPU_Region_InitTypeDef MPU_InitStruct = {0};

  /* Disables the MPU */
  HAL_MPU_Disable();

  /** Initializes and configures the Region and the memory to be protected
  */
  MPU_InitStruct.Enable = MPU_REGION_ENABLE;
  MPU_InitStruct.Number = MPU_REGION_NUMBER0;
  MPU_InitStruct.BaseAddress = 0x0;
  MPU_InitStruct.Size = MPU_REGION_SIZE_4GB;
  MPU_InitStruct.SubRegionDisable = 0x87;
  MPU_InitStruct.TypeExtField = MPU_TEX_LEVEL0;
  MPU_InitStruct.AccessPermission = MPU_REGION_NO_ACCESS;
  MPU_InitStruct.DisableExec = MPU_INSTRUCTION_ACCESS_DISABLE;
  MPU_InitStruct.IsShareable = MPU_ACCESS_SHAREABLE;
  MPU_InitStruct.IsCacheable = MPU_ACCESS_NOT_CACHEABLE;
  MPU_InitStruct.IsBufferable = MPU_ACCESS_NOT_BUFFERABLE;

  HAL_MPU_ConfigRegion(&MPU_InitStruct);
  /* Enables the MPU */
  HAL_MPU_Enable(MPU_PRIVILEGED_DEFAULT);

}

void Error_Handler(void)
{
  __disable_irq();
  while (1)
  {
  }
}
